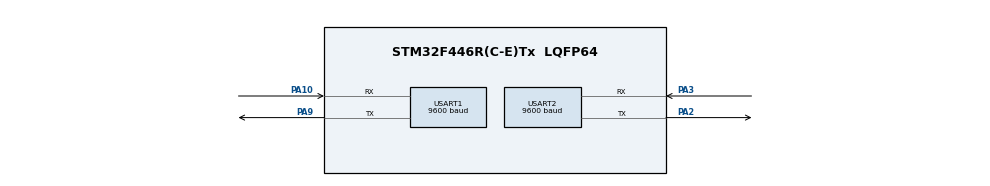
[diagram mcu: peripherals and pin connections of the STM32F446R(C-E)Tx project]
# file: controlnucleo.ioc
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Mcu.Family=STM32F4
Mcu.Name=STM32F446R(C-E)Tx
Mcu.Package=LQFP64
NVIC.PriorityGroup=NVIC_PRIORITYGROUP_4
NVIC.USART1_IRQn=true\:0\:0\:false\:false\:true\:true\:true\:true
NVIC.USART2_IRQn=true\:0\:0\:false\:false\:true\:true\:true\:true
PA10.Mode=Asynchronous
PA10.Signal=USART1_RX
PA13.Mode=Serial_Wire
PA13.Signal=SYS_JTMS-SWDIO
PA14.Mode=Serial_Wire
PA14.Signal=SYS_JTCK-SWCLK
PA2.Mode=Asynchronous
PA2.Signal=USART2_TX
PA3.Mode=Asynchronous
PA3.Signal=USART2_RX
PA9.Mode=Asynchronous
PA9.Signal=USART1_TX
PH0-OSC_IN.Mode=HSE-External-Oscillator
PH0-OSC_IN.Signal=RCC_OSC_IN
PH1-OSC_OUT.Mode=HSE-External-Oscillator
PH1-OSC_OUT.Signal=RCC_OSC_OUT
ProjectManager.HeapSize=0x200
ProjectManager.StackSize=0x400
ProjectManager.TargetToolchain=STM32CubeIDE
USART1.BaudRate=9600
USART1.VirtualMode=VM_ASYNC
USART2.BaudRate=9600
USART2.VirtualMode=VM_ASYNC
board=custom

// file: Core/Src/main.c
/* USER CODE BEGIN Header */
/**
  **************************
  * @file           : main.c
  * @brief          : Cuerpo principal del programa
  **************************
  * @attention
  *
  * Copyright (c) 2024 STMicroelectronics.
  * Todos los derechos reservados.
  *
  * Este software está licenciado bajo los términos que se pueden encontrar en el archivo LICENSE
  * en el directorio raíz de este componente de software.
  * Si no se proporciona ningún archivo LICENSE con este software, se proporciona TAL CUAL.
  *
  **************************
  */
/* USER CODE END Header */
#include "main.h"

/* USER CODE BEGIN Includes */
#include <string.h>
/* USER CODE END Includes */

UART_HandleTypeDef huart1;
UART_HandleTypeDef huart2;

/* USER CODE BEGIN PV */
uint8_t bufferRecepcion[1]; // Buffer para recepción de datos
uint8_t mensaje[20]; // Buffer para almacenar el mensaje a enviar
/* USER CODE END PV */

void SystemClock_Config(void);
static void MX_GPIO_Init(void);
static void MX_USART2_UART_Init(void);
static void MX_USART1_UART_Init(void);

int main(void)
{

  /* MCU Configuration--------------------------------------------------------*/

  /* Reset of all peripherals, Initializes the Flash interface and the Systick. */
  HAL_Init();

  /* Configure the system clock */
  SystemClock_Config();

  /* Initialize all configured peripherals */
  MX_GPIO_Init();
  MX_USART2_UART_Init();
  MX_USART1_UART_Init();
  /* USER CODE BEGIN 2 */
  HAL_UART_Receive_IT(&huart1, bufferRecepcion, 1);

  /* USER CODE END 2 */

  /* Infinite loop */
  while (1)
    {

    }
}

void SystemClock_Config(void)
{
  RCC_OscInitTypeDef RCC_OscInitStruct = {0};
  RCC_ClkInitTypeDef RCC_ClkInitStruct = {0};

  /** Configure the main internal regulator output voltage
  */
  __HAL_RCC_PWR_CLK_ENABLE();
  __HAL_PWR_VOLTAGESCALING_CONFIG(PWR_REGULATOR_VOLTAGE_SCALE3);

  /** Initializes the RCC Oscillators according to the specified parameters
  * in the RCC_OscInitTypeDef structure.
  */
  RCC_OscInitStruct.OscillatorType = RCC_OSCILLATORTYPE_HSI;
  RCC_OscInitStruct.HSIState = RCC_HSI_ON;
  RCC_OscInitStruct.HSICalibrationValue = RCC_HSICALIBRATION_DEFAULT;
  RCC_OscInitStruct.PLL.PLLState = RCC_PLL_NONE;
  if (HAL_RCC_OscConfig(&RCC_OscInitStruct) != HAL_OK)
  {
    Error_Handler();
  }

  /** Initializes the CPU, AHB and APB buses clocks
  */
  RCC_ClkInitStruct.ClockType = RCC_CLOCKTYPE_HCLK|RCC_CLOCKTYPE_SYSCLK
                              |RCC_CLOCKTYPE_PCLK1|RCC_CLOCKTYPE_PCLK2;
  RCC_ClkInitStruct.SYSCLKSource = RCC_SYSCLKSOURCE_HSI;
  RCC_ClkInitStruct.AHBCLKDivider = RCC_SYSCLK_DIV1;
  RCC_ClkInitStruct.APB1CLKDivider = RCC_HCLK_DIV1;
  RCC_ClkInitStruct.APB2CLKDivider = RCC_HCLK_DIV1;

  if (HAL_RCC_ClockConfig(&RCC_ClkInitStruct, FLASH_LATENCY_0) != HAL_OK)
  {
    Error_Handler();
  }
}

static void MX_USART1_UART_Init(void)
{

  huart1.Instance = USART1;
  huart1.Init.BaudRate = 9600;
  huart1.Init.WordLength = UART_WORDLENGTH_8B;
  huart1.Init.StopBits = UART_STOPBITS_1;
  huart1.Init.Parity = UART_PARITY_NONE;
  huart1.Init.Mode = UART_MODE_TX_RX;
  huart1.Init.HwFlowCtl = UART_HWCONTROL_NONE;
  huart1.Init.OverSampling = UART_OVERSAMPLING_16;
  if (HAL_UART_Init(&huart1) != HAL_OK)
  {
    Error_Handler();
  }

}

static void MX_USART2_UART_Init(void)
{

  huart2.Instance = USART2;
  huart2.Init.BaudRate = 9600;
  huart2.Init.WordLength = UART_WORDLENGTH_8B;
  huart2.Init.StopBits = UART_STOPBITS_1;
  huart2.Init.Parity = UART_PARITY_NONE;
  huart2.Init.Mode = UART_MODE_TX_RX;
  huart2.Init.HwFlowCtl = UART_HWCONTROL_NONE;
  huart2.Init.OverSampling = UART_OVERSAMPLING_16;
  if (HAL_UART_Init(&huart2) != HAL_OK)
  {
    Error_Handler();
  }

}

static void MX_GPIO_Init(void)
{

  /* GPIO Ports Clock Enable */
  __HAL_RCC_GPIOH_CLK_ENABLE();
  __HAL_RCC_GPIOA_CLK_ENABLE();

}

/* USER CODE BEGIN 4 */
void HAL_UART_RxCpltCallback(UART_HandleTypeDef *huart)
{
    if (huart->Instance == USART1) // Verificar si la interrupción proviene de USART1
    {
        // Procesar el dato recibido
        switch (bufferRecepcion[0]) // Evaluar el carácter recibido
        {
            case 'L':
                strcpy(mensaje, "Izquierda\r\n"); // Copiar mensaje
                break;
            case 'D':
                strcpy(mensaje, "Abajo\r\n"); // Copiar mensaje
                break;
            case 'R':
                strcpy(mensaje, "Derecha\r\n"); // Copiar mensaje
                break;
            case 'U':
                strcpy(mensaje, "Arriba\r\n"); // Copiar mensaje
                break;
            case 'A':
                strcpy(mensaje, "Parar\r\n"); // Copiar mensaje
                break;
            case 'B':
                strcpy(mensaje, "Reiniciar\r\n"); // Copiar mensaje
                break;
            default:
                //strcpy(mensaje, "Comando invalido\n"); // Mensaje de comando inválido
                break;
        }

        // Transmitir el mensaje
        HAL_UART_Transmit(&huart2, mensaje, strlen(mensaje), 10);

        // Reiniciar la recepción de datos
        HAL_UART_Receive_IT(&huart1, bufferRecepcion, 1);
    }
}

/* USER CODE END 4 */

void Error_Handler(void)
{
  /* USER CODE BEGIN Error_Handler_Debug */
  __disable_irq();
  while (1)
  {
    // Ciclo infinito en caso de error
  }
  /* USER CODE END Error_Handler_Debug */
}

#ifdef  USE_FULL_ASSERT
/**
  * @brief  Reports the name of the source file and the source line number
  *         where the assert_param error has occurred.
  * @param  file: pointer to the source file name
  * @param  line: assert_param error line source number
  * @retval None
  */
void assert_failed(uint8_t *file, uint32_t line)
{
  /* USER CODE BEGIN 6 */
    // Añadir mensaje de error personalizado si se necesita
  /* USER CODE END 6 */
}
#endif /* USE_FULL_ASSERT */
